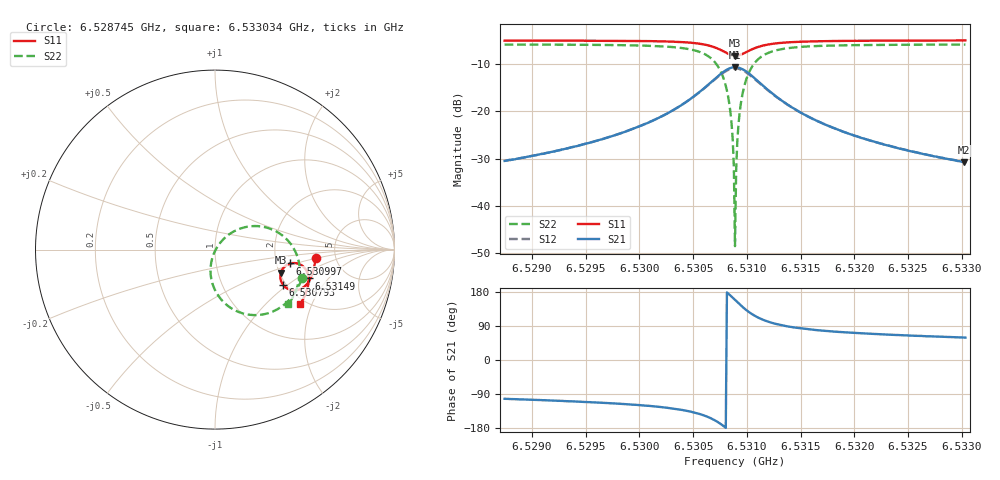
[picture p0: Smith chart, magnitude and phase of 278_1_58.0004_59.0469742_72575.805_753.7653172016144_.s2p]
#  HZ  S  RI  R  50.00
! Rohde & Schwarz Vector Network Analyzer
! Rohde-Schwarz,ZNB20-2Port,1311601062101988,3.16
! Created: UTC 3/21/2024, 1:02:45 AM
! freq[Hz]  re:S11  im:S11  re:S21  im:S21  re:S12  im:S12  re:S22  im:S22
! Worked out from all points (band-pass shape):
!   401 points, 6.528745 GHz to 6.533034 GHz, reference 50 ohm
!   highest |S21| = -10.63 dB at 6.53089 GHz (marker M1); lowest = -30.7 dB at 6.533024 GHz (marker M2)
!   |S21| within 3 dB of the highest: 6.530676 GHz to 6.531105 GHz (429.7 kHz wide, 0.00658 % of centre)
!   lowest |S11| = -8.2 dB at 6.53089 GHz (marker M3), VSWR 2.27, Z = 102 - j31 ohm
!   |S11| at or under -10 dB: nowhere
!   |S22| runs from -48.5 to -5.8 dB; largest |S21 - S12| = 0.011
!   S11 on the Smith chart (normalised r, x): 6.528745 GHz: 3.50, -0.47; 6.530793 GHz: 1.93, -0.92; 6.530997 GHz: 2.38, -0.45; 6.53149 GHz: 2.76, -1.26; 6.533034 GHz: 1.86, -1.65
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6.5287452e9  0.5601 -0.0456  -0.00644 -0.0292  -0.00709 -0.0291  0.4852 -0.1592
6.5294637e9  0.551 -0.105  -0.0155 -0.0416  -0.0164 -0.0413  0.4555 -0.2236
6.5301821e9  0.5243 -0.1756  -0.0475 -0.0714  -0.0495 -0.0702  0.377 -0.3134
6.530611e9  0.4561 -0.2259  -0.151 -0.097  -0.1533 -0.0909  0.1784 -0.3609
6.5307183e9  0.4126 -0.2217  -0.218 -0.0718  -0.2175 -0.063  0.0655 -0.3083
6.5307933e9  0.3788 -0.196  -0.2674 -0.0158  -0.2622 -0.0064  -0.00838 -0.2059
6.5308255e9  0.3682 -0.1768  -0.2807 0.0212  -0.2731 0.0295  -0.0239 -0.1425
6.5308469e9  0.3644 -0.1616  -0.2839 0.0492  -0.275 0.0562  -0.0242 -0.0959
6.5308577e9  0.3638 -0.1537  -0.2835 0.0637  -0.2742 0.07  -0.0211 -0.0721
6.5308684e9  0.3638 -0.1455  -0.2818 0.0784  -0.272 0.0839  -0.0156 -0.0484
6.5308898e9  0.3666 -0.1294  -0.2738 0.1071  -0.2637 0.1109  0.00246 -0.00283
6.5309113e9  0.3728 -0.1143  -0.2603 0.1339  -0.2502 0.1357  0.0294 0.0383
6.530922e9  0.3772 -0.1074  -0.2516 0.146  -0.2418 0.147  0.0454 0.0564
6.5309435e9  0.3876 -0.0953  -0.2317 0.1668  -0.2225 0.1663  0.0816 0.0871
6.5309971e9  0.4191 -0.0774  -0.174 0.198  -0.1676 0.1952  0.182 0.1279
6.5310614e9  0.4554 -0.0763  -0.1107 0.2018  -0.1069 0.1989  0.2882 0.1226
6.5311579e9  0.4912 -0.0941  -0.0486 0.1776  -0.0468 0.1759  0.3889 0.0676
6.5314903e9  0.5219 -0.1609  0.0105 0.0984  0.0116 0.0981  0.4713 -0.097
6.5316083e9  0.5219 -0.1778  0.0146 0.0828  0.0156 0.0824  0.4723 -0.1314
6.5323267e9  0.5029 -0.2498  0.017 0.0397  0.0178 0.0394  0.4437 -0.2454
6.5330237e9  0.4765 -0.3018  0.0148 0.0249  0.0154 0.0247  0.4092 -0.3049
6.5330345e9  0.476 -0.3026  0.0149 0.0249  0.0152 0.0246  0.4086 -0.3055
